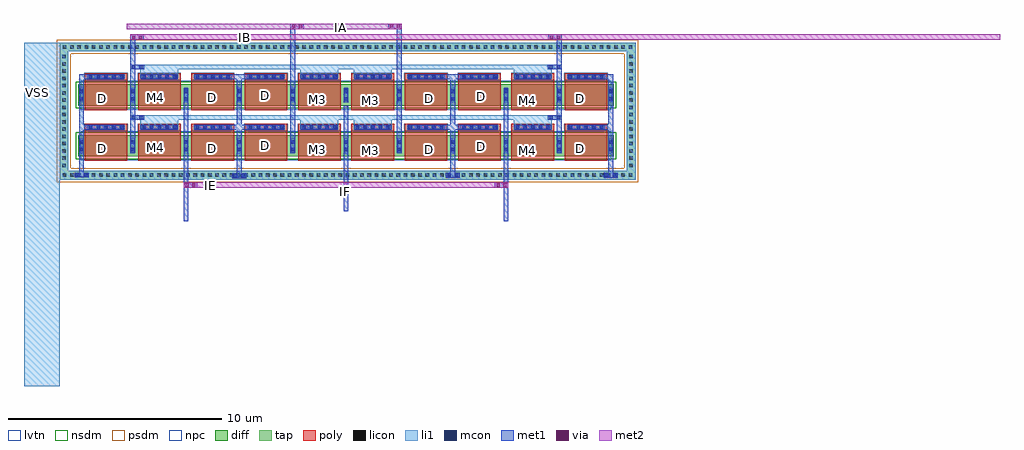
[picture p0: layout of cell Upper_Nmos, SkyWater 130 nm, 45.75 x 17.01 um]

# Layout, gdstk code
from math import pi, radians
import gdstk
lib = gdstk.Library(unit=1e-6, precision=1e-09)
def R(c, l, rs):  # rectangles x0, y0, x1, y1
    for r in rs: c.add(gdstk.rectangle(r[:2], r[2:], *l))
def A(c, l, x, y, w, h, nx, ny, dx, dy):  # array of equal rectangles
    R(c, l, [(x+i*dx, y+j*dy, x+i*dx+w, y+j*dy+h) for i in range(nx) for j in range(ny)])
diff = (65, 20)
tap = (65, 44)
poly = (66, 20)
licon = (66, 44)
li1 = (67, 20)
mcon = (67, 44)
met1 = (68, 20)
via = (68, 44)
met2 = (69, 20)
nsdm = (93, 44)
psdm = (94, 20)
npc = (95, 20)
lvtn = (125, 44)

vias_gen_2 = lib.new_cell('vias_gen$2')
R(vias_gen_2, met1, [(0,0,0.64,0.26)])
R(vias_gen_2, via, [(0.085,0.055,0.235,0.205), (0.405,0.055,0.555,0.205)])
R(vias_gen_2, met2, [(0,0,0.64,0.26)])

vias_gen_1 = lib.new_cell('vias_gen$1')
R(vias_gen_1, li1, [(0,0,0.66,0.23)])
R(vias_gen_1, mcon, [(0.065,0.03,0.235,0.2), (0.425,0.03,0.595,0.2)])
R(vias_gen_1, met1, [(0,0,0.66,0.23)])

vias_gen_5 = lib.new_cell('vias_gen$5')
R(vias_gen_5, tap, [(0,0,0.41,27)])
A(vias_gen_5, licon, 0.12, 0.155, 0.17, 0.17, 1, 79, 0, 0.34)
R(vias_gen_5, li1, [(0,0,0.41,27)])
R(vias_gen_5, psdm, [(-0.125,-0.125,0.535,27.125)])

vias_gen_4 = lib.new_cell('vias_gen$4')
R(vias_gen_4, tap, [(0,0,0.41,5.6)])
A(vias_gen_4, licon, 0.12, 0.165, 0.17, 0.17, 1, 16, 0, 0.34)
R(vias_gen_4, li1, [(0,0,0.41,5.6)])
R(vias_gen_4, psdm, [(-0.125,-0.125,0.535,5.725)])

nfet = lib.new_cell('nfet')
R(nfet, diff, [(0,0,25.1,1)])
A(nfet, poly, 0.3, -0.2, 2, 1.4, 10, 1, 2.5, 0)
A(nfet, poly, 0.3, 1.2, 2, 0.33, 10, 1, 2.5, 0)
A(nfet, licon, 2.465, 0.235, 0.17, 0.17, 9, 2, 2.5, 0.36)
A(nfet, licon, 0.495, 1.28, 0.17, 0.17, 5, 1, 0.36, 0)
A(nfet, licon, 2.995, 1.28, 0.17, 0.17, 5, 1, 0.36, 0)
A(nfet, licon, 5.495, 1.28, 0.17, 0.17, 5, 1, 0.36, 0)
A(nfet, licon, 7.995, 1.28, 0.17, 0.17, 5, 1, 0.36, 0)
A(nfet, licon, 10.495, 1.28, 0.17, 0.17, 5, 1, 0.36, 0)
A(nfet, licon, 12.995, 1.28, 0.17, 0.17, 5, 1, 0.36, 0)
A(nfet, licon, 15.495, 1.28, 0.17, 0.17, 5, 1, 0.36, 0)
A(nfet, licon, 17.995, 1.28, 0.17, 0.17, 5, 1, 0.36, 0)
A(nfet, licon, 20.495, 1.28, 0.17, 0.17, 5, 1, 0.36, 0)
A(nfet, licon, 22.995, 1.28, 0.17, 0.17, 5, 1, 0.36, 0)
R(nfet, licon, [(0.065,0.235,0.235,0.405), (24.865,0.235,25.035,0.405), (0.065,0.595,0.235,0.765), (24.865,0.595,25.035,0.765)])
A(nfet, li1, 2.465, 0.155, 0.17, 0.69, 9, 1, 2.5, 0)
A(nfet, li1, 0.415, 1.28, 1.77, 0.17, 10, 1, 2.5, 0)
R(nfet, li1, [(0.065,0.155,0.235,0.845), (24.865,0.155,25.035,0.845)])
A(nfet, mcon, 2.465, 0.235, 0.17, 0.17, 9, 2, 2.5, 0.36)
A(nfet, mcon, 0.495, 1.28, 0.17, 0.17, 5, 1, 0.36, 0)
A(nfet, mcon, 2.995, 1.28, 0.17, 0.17, 5, 1, 0.36, 0)
A(nfet, mcon, 5.495, 1.28, 0.17, 0.17, 5, 1, 0.36, 0)
A(nfet, mcon, 7.995, 1.28, 0.17, 0.17, 5, 1, 0.36, 0)
A(nfet, mcon, 10.495, 1.28, 0.17, 0.17, 5, 1, 0.36, 0)
A(nfet, mcon, 12.995, 1.28, 0.17, 0.17, 5, 1, 0.36, 0)
A(nfet, mcon, 15.495, 1.28, 0.17, 0.17, 5, 1, 0.36, 0)
A(nfet, mcon, 17.995, 1.28, 0.17, 0.17, 5, 1, 0.36, 0)
A(nfet, mcon, 20.495, 1.28, 0.17, 0.17, 5, 1, 0.36, 0)
A(nfet, mcon, 22.995, 1.28, 0.17, 0.17, 5, 1, 0.36, 0)
R(nfet, mcon, [(0.065,0.235,0.235,0.405), (24.865,0.235,25.035,0.405), (0.065,0.595,0.235,0.765), (24.865,0.595,25.035,0.765)])
A(nfet, met1, 2.435, 0.175, 0.23, 0.65, 9, 1, 2.5, 0)
A(nfet, met1, 0.435, 1.25, 1.73, 0.23, 10, 1, 2.5, 0)
R(nfet, met1, [(0.035,0.175,0.265,0.825), (24.835,0.175,25.065,0.825)])
R(nfet, nsdm, [(-0.125,-0.125,25.225,1.125)])
A(nfet, npc, 0.29, 1.19, 2.02, 0.35, 10, 1, 2.5, 0)
R(nfet, lvtn, [(0.12,-0.18,24.98,1.18)])

upper_nmos = lib.new_cell('Upper_Nmos')
R(upper_nmos, li1, [(-16.37,2.045,-14.705,18.165), (-10.91,14.28,-9.14,14.765), (-3.41,14.28,-1.645,14.765), (-0.91,14.28,0.86,14.765), (6.59,14.28,8.36,14.765), (-10.73,14.535,8.73,14.765), (-10.91,16.65,-9.14,17.135), (-3.41,16.65,-1.645,17.135), (-0.91,16.65,0.86,17.135), (6.59,16.65,8.36,17.135), (-10.73,16.905,8.73,17.135)])
R(upper_nmos, met1, [(-8.89,9.78,-8.66,13.005), (6.11,9.78,6.34,13.005), (-1.39,10.265,-1.16,15.205), (-6.39,11.93,-6.16,16.68), (-13.79,11.94,-13.56,16.68), (11.01,11.95,11.24,14.31), (3.61,11.955,3.84,16.68), (6.11,12.395,6.34,15.375), (-1.39,12.405,-1.16,13.005), (11.01,12.985,11.24,16.68), (-13.79,13.655,-13.565,14.31), (-11.39,13.655,-11.16,17.135), (-8.89,13.655,-8.66,15.375), (-3.89,13.655,-3.66,18.905), (1.11,13.655,1.34,19.055), (3.61,13.655,3.84,14.31), (8.61,13.655,8.84,17.135), (-13.755,14.08,-13.39,14.31), (-6.66,14.08,-5.89,14.31), (3.34,14.08,4.11,14.31), (10.84,14.08,11.24,14.31), (-11.39,16.025,-11.16,18.29), (-6.39,16.025,-6.16,16.68), (-3.89,16.025,-3.66,17.22), (1.11,16.025,1.34,17.22), (8.61,16.025,8.84,18.29), (-13.755,16.45,-13.39,16.68), (-6.66,16.45,-5.89,16.68), (3.34,16.45,4.11,16.68), (10.84,16.45,11.24,16.68)])
R(upper_nmos, met2, [(-8.89,11.36,5.7,11.62), (-11.39,18.29,29.38,18.55), (-11.545,18.795,1.145,19.055)])
upper_nmos.add(gdstk.Reference(vias_gen_2, (5.7,11.36)))
upper_nmos.add(gdstk.Reference(vias_gen_2, (-8.89,11.36)))
upper_nmos.add(gdstk.Reference(vias_gen_2, (0.7,18.795)))
upper_nmos.add(gdstk.Reference(vias_gen_2, (-3.89,18.795)))
upper_nmos.add(gdstk.Reference(vias_gen_2, (8.2,18.29)))
upper_nmos.add(gdstk.Reference(vias_gen_2, (-11.39,18.29)))
upper_nmos.add(gdstk.Reference(vias_gen_1, (10.795,11.83)))
upper_nmos.add(gdstk.Reference(vias_gen_1, (3.395,11.83)))
upper_nmos.add(gdstk.Reference(vias_gen_1, (-6.62,11.815)))
upper_nmos.add(gdstk.Reference(vias_gen_1, (-14,11.84)))
upper_nmos.add(gdstk.Reference(vias_gen_5, (-14.705,18.165), rotation=3*pi/2))
upper_nmos.add(gdstk.Reference(vias_gen_4, (11.885,12.155)))
upper_nmos.add(gdstk.Reference(vias_gen_5, (-14.705,12.155), rotation=3*pi/2))
upper_nmos.add(gdstk.Reference(vias_gen_4, (-14.705,12.155)))
upper_nmos.add(gdstk.Reference(nfet, (-13.825,12.83)))
upper_nmos.add(gdstk.Reference(vias_gen_1, (8.175,14.535)))
upper_nmos.add(gdstk.Reference(vias_gen_1, (-11.39,14.535)))
upper_nmos.add(gdstk.Reference(nfet, (-13.825,15.2)))
upper_nmos.add(gdstk.Reference(vias_gen_1, (8.175,16.905)))
upper_nmos.add(gdstk.Reference(vias_gen_1, (-11.39,16.905)))
upper_nmos.add(gdstk.Label('VSS', (-15.745,15.845), layer=67, texttype=16))
upper_nmos.add(gdstk.Label('IE', (-7.61,11.47), layer=69, texttype=16))
upper_nmos.add(gdstk.Label('IB', (-6.035,18.4), layer=69, texttype=16))
upper_nmos.add(gdstk.Label('IA', (-1.53,18.89), layer=69, texttype=16))
upper_nmos.add(gdstk.Label('IF', (-1.28,11.2), layer=68, texttype=16))
upper_nmos.add(gdstk.Label('D', (9.735,13.18), layer=68, texttype=5))
upper_nmos.add(gdstk.Label('M4', (7.245,13.09), layer=68, texttype=5))
upper_nmos.add(gdstk.Label('D', (5.095,13.28), layer=68, texttype=5))
upper_nmos.add(gdstk.Label('D', (2.635,13.165), layer=68, texttype=5))
upper_nmos.add(gdstk.Label('M3', (-0.135,13.095), layer=68, texttype=5))
upper_nmos.add(gdstk.Label('M3', (-2.61,13.145), layer=68, texttype=5))
upper_nmos.add(gdstk.Label('D', (-5.07,13.335), layer=68, texttype=5))
upper_nmos.add(gdstk.Label('D', (-7.53,13.22), layer=68, texttype=5))
upper_nmos.add(gdstk.Label('M4', (-10.225,13.235), layer=68, texttype=5))
upper_nmos.add(gdstk.Label('D', (-12.685,13.185), layer=68, texttype=5))
upper_nmos.add(gdstk.Label('D', (9.735,15.55), layer=68, texttype=5))
upper_nmos.add(gdstk.Label('M4', (7.245,15.46), layer=68, texttype=5))
upper_nmos.add(gdstk.Label('D', (5.095,15.65), layer=68, texttype=5))
upper_nmos.add(gdstk.Label('D', (2.635,15.535), layer=68, texttype=5))
upper_nmos.add(gdstk.Label('M3', (-0.135,15.465), layer=68, texttype=5))
upper_nmos.add(gdstk.Label('M3', (-2.61,15.515), layer=68, texttype=5))
upper_nmos.add(gdstk.Label('D', (-5.07,15.705), layer=68, texttype=5))
upper_nmos.add(gdstk.Label('D', (-7.53,15.59), layer=68, texttype=5))
upper_nmos.add(gdstk.Label('M4', (-10.225,15.605), layer=68, texttype=5))
upper_nmos.add(gdstk.Label('D', (-12.685,15.555), layer=68, texttype=5))

lib.write_gds('Upper_Nmos.gds')
